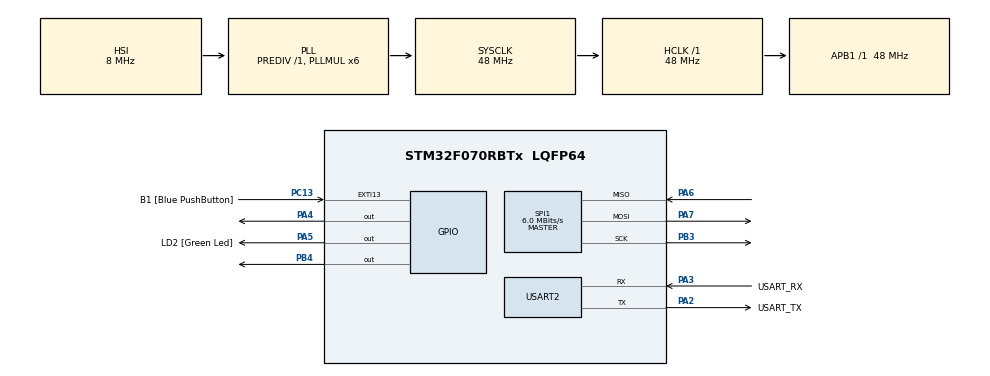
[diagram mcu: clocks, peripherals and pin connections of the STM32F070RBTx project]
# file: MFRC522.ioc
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Mcu.Family=STM32F0
Mcu.Name=STM32F070RBTx
Mcu.Package=LQFP64
PA13.GPIO_Label=TMS
PA13.Mode=Serial_Wire
PA13.Signal=SYS_SWDIO
PA14.GPIO_Label=TCK
PA14.Mode=Serial_Wire
PA14.Signal=SYS_SWCLK
PA2.GPIO_Label=USART_TX
PA2.Mode=Asynchronous
PA2.Signal=USART2_TX
PA3.GPIO_Label=USART_RX
PA3.Mode=Asynchronous
PA3.Signal=USART2_RX
PA4.Signal=GPIO_Output
PA5.GPIO_Label=LD2 [Green Led]
PA5.Signal=GPIO_Output
PA6.Mode=Full_Duplex_Master
PA6.Signal=SPI1_MISO
PA7.Mode=Full_Duplex_Master
PA7.Signal=SPI1_MOSI
PB3.Mode=Full_Duplex_Master
PB3.Signal=SPI1_SCK
PB4.Signal=GPIO_Output
PC13.GPIO_Label=B1 [Blue PushButton]
PC13.GPIO_ModeDefaultEXTI=GPIO_MODE_IT_FALLING
PC13.Signal=GPXTI13
PC14-OSC32_IN.GPIO_Label=RCC_OSC32_IN
PC14-OSC32_IN.Mode=LSE-External-Oscillator
PC14-OSC32_IN.Signal=RCC_OSC32_IN
PC15-OSC32_OUT.GPIO_Label=RCC_OSC32_OUT
PC15-OSC32_OUT.Mode=LSE-External-Oscillator
PC15-OSC32_OUT.Signal=RCC_OSC32_OUT
PF0-OSC_IN.GPIO_Label=RCC_OSC_IN
PF0-OSC_IN.Mode=HSE-External-Clock-Source
PF0-OSC_IN.Signal=RCC_OSC_IN
PF1-OSC_OUT.GPIO_Label=RCC_OSC_OUT
PF1-OSC_OUT.Signal=RCC_OSC_OUT
ProjectManager.HeapSize=0x200
ProjectManager.StackSize=0x400
ProjectManager.TargetToolchain=STM32CubeIDE
RCC.AHBFreq_Value=48000000
RCC.APB1Freq_Value=48000000
RCC.APB1TimFreq_Value=48000000
RCC.HCLKFreq_Value=48000000
RCC.PLLMUL=RCC_PLL_MUL6
RCC.SYSCLKFreq_VALUE=48000000
RCC.SYSCLKSource=RCC_SYSCLKSOURCE_PLLCLK
SPI1.BaudRatePrescaler=SPI_BAUDRATEPRESCALER_8
SPI1.CalculateBaudRate=6.0 MBits/s
SPI1.DataSize=SPI_DATASIZE_8BIT
SPI1.Direction=SPI_DIRECTION_2LINES
SPI1.Mode=SPI_MODE_MASTER
SPI1.VirtualType=VM_MASTER
USART2.VirtualMode-Asynchronous=VM_ASYNC
board=NUCLEO-F070RB

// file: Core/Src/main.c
/* USER CODE BEGIN Header */
/**
  ******************************************************************************
  * @file           : main.c
  * @brief          : Main program body
  ******************************************************************************
  * @attention
  *
  * <h2><center>&copy; Copyright (c) 2023 STMicroelectronics.
  * All rights reserved.</center></h2>
  *
  * This software component is licensed by ST under BSD 3-Clause license,
  * the "License"; You may not use this file except in compliance with the
  * License. You may obtain a copy of the License at:
  *                        opensource.org/licenses/BSD-3-Clause
  *
  ******************************************************************************
  */
/* USER CODE END Header */
#include "main.h"

/* USER CODE BEGIN Includes */
#include "stm32f1_rc522.h"
#include <string.h>
/* USER CODE END Includes */

SPI_HandleTypeDef hspi1;

UART_HandleTypeDef huart2;

void SystemClock_Config(void);
static void MX_GPIO_Init(void);
static void MX_USART2_UART_Init(void);
static void MX_SPI1_Init(void);

/* USER CODE BEGIN 0 */
/* USER CODE BEGIN PV */
//uint8_t i;
uint8_t status;
uint8_t str[MAX_LEN]; // Max_LEN = 16

uint8_t serNum[5];
//char password[16]="123456"; //Max lenght of password is 16 charaters
//char keypass[16];
//int cnt=0;
uint8_t key;
//uint8_t check,check2;

uint8_t Key_Card[4]  = {170, 49, 60, 41};
uint8_t Key_Card2[4] = {228, 85, 45, 40};

uint8_t  KEY[] = {0xFF,0xFF,0xFF,0xFF,0xFF,0xFF};
uint8_t  KEY2[]={1,2,3,4,5,6};       //{1,2,3,4,5,6};//"mohem";
//uint8_t  BLOCK_ADDRS[] =  {1}; //{1, 2, 3};

uint8_t test;
uint8_t W[]="coskun-tasdemir";
uint8_t R[16];

/* USER CODE END 0 */

int main(void)
{

  /* MCU Configuration--------------------------------------------------------*/

  /* Reset of all peripherals, Initializes the Flash interface and the Systick. */
  HAL_Init();

  /* Configure the system clock */
  SystemClock_Config();

  /* Initialize all configured peripherals */
  MX_GPIO_Init();
  MX_USART2_UART_Init();
  MX_SPI1_Init();
  /* USER CODE BEGIN 2 */
  MFRC522_Init();

	status = MFRC522_Request(PICC_REQIDL, str);	//MFRC522_Request(0x26, str)
		status = MFRC522_Anticoll(str);//Take a collision, look up 5 bytes
		memcpy(serNum, str, 5);

	if (status == MI_OK) {

		//*******************************Read and write on block tag*************************//

		MFRC522_SelectTag(str);
		test = MFRC522_Auth(PICC_AUTHENT1A, 24, KEY, serNum);

		if (HAL_GPIO_ReadPin(GPIOA, GPIO_PIN_5) == 0) {

			status = MFRC522_Write((uint8_t) 24, W);

		}

			status = MFRC522_Read(24, R);

	}

  /* USER CODE END 2 */

  /* Infinite loop */
  while (1)
  {

  }
}

void SystemClock_Config(void)
{
  RCC_OscInitTypeDef RCC_OscInitStruct = {0};
  RCC_ClkInitTypeDef RCC_ClkInitStruct = {0};

  /** Initializes the RCC Oscillators according to the specified parameters
  * in the RCC_OscInitTypeDef structure.
  */
  RCC_OscInitStruct.OscillatorType = RCC_OSCILLATORTYPE_HSI;
  RCC_OscInitStruct.HSIState = RCC_HSI_ON;
  RCC_OscInitStruct.HSICalibrationValue = RCC_HSICALIBRATION_DEFAULT;
  RCC_OscInitStruct.PLL.PLLState = RCC_PLL_ON;
  RCC_OscInitStruct.PLL.PLLSource = RCC_PLLSOURCE_HSI;
  RCC_OscInitStruct.PLL.PLLMUL = RCC_PLL_MUL6;
  RCC_OscInitStruct.PLL.PREDIV = RCC_PREDIV_DIV1;
  if (HAL_RCC_OscConfig(&RCC_OscInitStruct) != HAL_OK)
  {
    Error_Handler();
  }
  /** Initializes the CPU, AHB and APB buses clocks
  */
  RCC_ClkInitStruct.ClockType = RCC_CLOCKTYPE_HCLK|RCC_CLOCKTYPE_SYSCLK
                              |RCC_CLOCKTYPE_PCLK1;
  RCC_ClkInitStruct.SYSCLKSource = RCC_SYSCLKSOURCE_PLLCLK;
  RCC_ClkInitStruct.AHBCLKDivider = RCC_SYSCLK_DIV1;
  RCC_ClkInitStruct.APB1CLKDivider = RCC_HCLK_DIV1;

  if (HAL_RCC_ClockConfig(&RCC_ClkInitStruct, FLASH_LATENCY_1) != HAL_OK)
  {
    Error_Handler();
  }
}

static void MX_SPI1_Init(void)
{

  /* SPI1 parameter configuration*/
  hspi1.Instance = SPI1;
  hspi1.Init.Mode = SPI_MODE_MASTER;
  hspi1.Init.Direction = SPI_DIRECTION_2LINES;
  hspi1.Init.DataSize = SPI_DATASIZE_8BIT;
  hspi1.Init.CLKPolarity = SPI_POLARITY_LOW;
  hspi1.Init.CLKPhase = SPI_PHASE_1EDGE;
  hspi1.Init.NSS = SPI_NSS_SOFT;
  hspi1.Init.BaudRatePrescaler = SPI_BAUDRATEPRESCALER_8;
  hspi1.Init.FirstBit = SPI_FIRSTBIT_MSB;
  hspi1.Init.TIMode = SPI_TIMODE_DISABLE;
  hspi1.Init.CRCCalculation = SPI_CRCCALCULATION_DISABLE;
  hspi1.Init.CRCPolynomial = 7;
  hspi1.Init.CRCLength = SPI_CRC_LENGTH_DATASIZE;
  hspi1.Init.NSSPMode = SPI_NSS_PULSE_ENABLE;
  if (HAL_SPI_Init(&hspi1) != HAL_OK)
  {
    Error_Handler();
  }

}

static void MX_USART2_UART_Init(void)
{

  huart2.Instance = USART2;
  huart2.Init.BaudRate = 38400;
  huart2.Init.WordLength = UART_WORDLENGTH_8B;
  huart2.Init.StopBits = UART_STOPBITS_1;
  huart2.Init.Parity = UART_PARITY_NONE;
  huart2.Init.Mode = UART_MODE_TX_RX;
  huart2.Init.HwFlowCtl = UART_HWCONTROL_NONE;
  huart2.Init.OverSampling = UART_OVERSAMPLING_16;
  huart2.Init.OneBitSampling = UART_ONE_BIT_SAMPLE_DISABLE;
  huart2.AdvancedInit.AdvFeatureInit = UART_ADVFEATURE_NO_INIT;
  if (HAL_UART_Init(&huart2) != HAL_OK)
  {
    Error_Handler();
  }

}

static void MX_GPIO_Init(void)
{
  GPIO_InitTypeDef GPIO_InitStruct = {0};

  /* GPIO Ports Clock Enable */
  __HAL_RCC_GPIOC_CLK_ENABLE();
  __HAL_RCC_GPIOF_CLK_ENABLE();
  __HAL_RCC_GPIOA_CLK_ENABLE();
  __HAL_RCC_GPIOB_CLK_ENABLE();

  /*Configure GPIO pin Output Level */
  HAL_GPIO_WritePin(GPIOA, GPIO_PIN_4|LD2_Pin, GPIO_PIN_RESET);

  /*Configure GPIO pin Output Level */
  HAL_GPIO_WritePin(GPIOB, GPIO_PIN_4, GPIO_PIN_RESET);

  /*Configure GPIO pin : B1_Pin */
  GPIO_InitStruct.Pin = B1_Pin;
  GPIO_InitStruct.Mode = GPIO_MODE_IT_FALLING;
  GPIO_InitStruct.Pull = GPIO_NOPULL;
  HAL_GPIO_Init(B1_GPIO_Port, &GPIO_InitStruct);

  /*Configure GPIO pins : PA4 LD2_Pin */
  GPIO_InitStruct.Pin = GPIO_PIN_4|LD2_Pin;
  GPIO_InitStruct.Mode = GPIO_MODE_OUTPUT_PP;
  GPIO_InitStruct.Pull = GPIO_NOPULL;
  GPIO_InitStruct.Speed = GPIO_SPEED_FREQ_LOW;
  HAL_GPIO_Init(GPIOA, &GPIO_InitStruct);

  /*Configure GPIO pin : PB4 */
  GPIO_InitStruct.Pin = GPIO_PIN_4;
  GPIO_InitStruct.Mode = GPIO_MODE_OUTPUT_PP;
  GPIO_InitStruct.Pull = GPIO_NOPULL;
  GPIO_InitStruct.Speed = GPIO_SPEED_FREQ_LOW;
  HAL_GPIO_Init(GPIOB, &GPIO_InitStruct);

}

void Error_Handler(void)
{
  __disable_irq();
  while (1)
  {
  }
}

/************************ (C) COPYRIGHT STMicroelectronics *****END OF FILE****/
